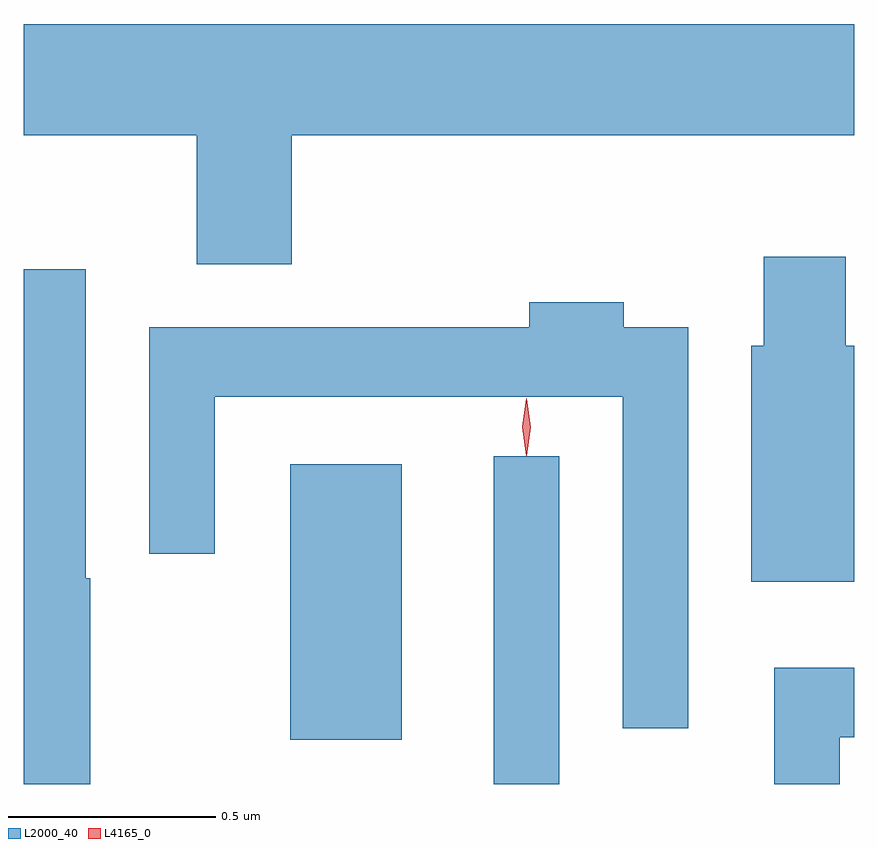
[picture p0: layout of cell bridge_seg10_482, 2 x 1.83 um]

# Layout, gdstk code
import gdstk
lib = gdstk.Library(unit=1e-6, precision=1e-09)
def R(c, l, rs):  # rectangles x0, y0, x1, y1
    for r in rs: c.add(gdstk.rectangle(r[:2], r[2:], *l))
def P(c, l, *ps):  # polygons
    for p in ps: c.add(gdstk.Polygon(p, *l))
L2000_40 = (2000, 40)
L4165_0 = (4165, 0)

bridge_seg10_482 = lib.new_cell('bridge_seg10_482')
R(bridge_seg10_482, L2000_40, [(1389.396,2105.694,1389.554,2106.483), (1388.906,2105.801,1389.174,2106.464)])
P(bridge_seg10_482, L2000_40, [(1388.909,2107.256),(1390.264,2107.256),(1390.264,2107.524),(1388.264,2107.524),(1388.264,2107.256),(1388.681,2107.256),(1388.681,2106.946),(1388.909,2106.946)],
  [(1390.264,2106.749),(1390.244,2106.749),(1390.244,2106.964),(1390.046,2106.964),(1390.046,2106.749),(1390.016,2106.749),(1390.016,2106.181),(1390.264,2106.181)],
  [(1388.424,2106.19),(1388.414,2106.19),(1388.414,2106.933),(1388.264,2106.933),(1388.264,2105.694),(1388.424,2105.694)],
  [(1389.864,2106.794),(1389.709,2106.794),(1389.709,2106.854),(1389.481,2106.854),(1389.481,2106.794),(1388.566,2106.794),(1388.566,2106.248),(1388.724,2106.248),(1388.724,2106.626),(1389.706,2106.626),(1389.706,2105.828),(1389.864,2105.828)],
  [(1390.229,2105.806),(1390.264,2105.806),(1390.264,2105.974),(1390.071,2105.974),(1390.071,2105.694),(1390.229,2105.694)])
P(bridge_seg10_482, L4165_0, [(1389.474,2106.484),(1389.465,2106.553),(1389.474,2106.622),(1389.475,2106.623),(1389.475,2106.622),(1389.485,2106.553),(1389.475,2106.484),(1389.475,2106.484)],
  [(1389.474,2106.487),(1389.474,2106.488),(1389.465,2106.554),(1389.474,2106.62),(1389.475,2106.62),(1389.475,2106.62),(1389.484,2106.554),(1389.475,2106.488)])

lib.write_gds('bridge_seg10_482.gds')
